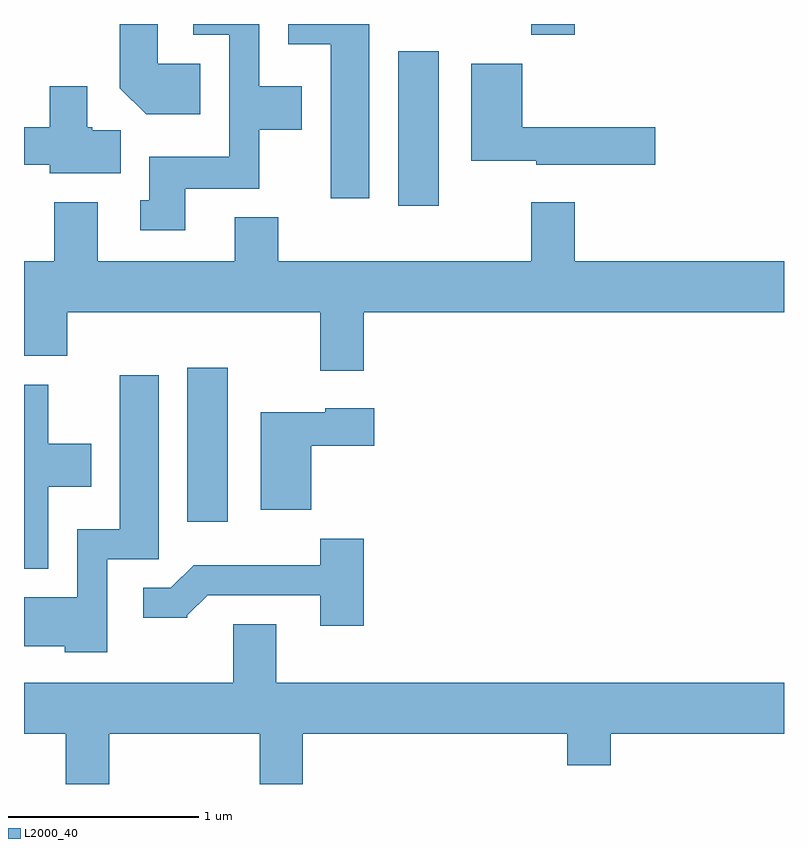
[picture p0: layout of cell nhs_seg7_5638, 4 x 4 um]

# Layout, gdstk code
import gdstk
lib = gdstk.Library(unit=1e-6, precision=1e-09)
def R(c, l, rs):  # rectangles x0, y0, x1, y1
    for r in rs: c.add(gdstk.rectangle(r[:2], r[2:], *l))
def P(c, l, *ps):  # polygons
    for p in ps: c.add(gdstk.Polygon(p, *l))
L2000_40 = (2000, 40)

nhs_seg7_5638 = lib.new_cell('nhs_seg7_5638')
R(nhs_seg7_5638, L2000_40, [(358.471,1737.631,358.684,1738.444), (359.581,1739.296,359.794,1740.109), (360.281,1740.196,360.509,1740.252)])
P(nhs_seg7_5638, L2000_40, [(358.459,1739.386),(358.849,1739.386),(358.849,1739.696),(359.074,1739.696),(359.074,1739.924),(358.849,1739.924),(358.849,1740.252),(358.503,1740.252),(358.503,1740.196),(358.691,1740.196),(358.691,1739.554),(358.271,1739.554),(358.271,1739.324),(358.223,1739.324),(358.223,1739.166),(358.459,1739.166)],
  [(359.429,1740.252),(359.001,1740.252),(359.001,1740.146),(359.226,1740.146),(359.226,1739.336),(359.429,1739.336)],
  [(358.539,1740.044),(358.314,1740.044),(358.314,1740.252),(358.116,1740.252),(358.116,1739.914),(358.254,1739.776),(358.539,1739.776)],
  [(360.934,1739.709),(360.234,1739.709),(360.234,1740.044),(359.966,1740.044),(359.966,1739.531),(360.306,1739.531),(360.306,1739.511),(360.934,1739.511)],
  [(358.119,1739.694),(357.97,1739.694),(357.97,1739.709),(357.944,1739.709),(357.944,1739.924),(357.746,1739.924),(357.746,1739.709),(357.611,1739.709),(357.611,1739.511),(357.746,1739.511),(357.746,1739.466),(358.119,1739.466)],
  [(359.399,1738.736),(361.611,1738.736),(361.611,1739.004),(360.509,1739.004),(360.509,1739.314),(360.281,1739.314),(360.281,1739.004),(358.949,1739.004),(358.949,1739.234),(358.721,1739.234),(358.721,1739.004),(357.999,1739.004),(357.999,1739.314),(357.771,1739.314),(357.771,1739.004),(357.611,1739.004),(357.611,1738.506),(357.839,1738.506),(357.839,1738.736),(359.171,1738.736),(359.171,1738.426),(359.399,1738.426)],
  [(358.049,1737.436),(358.319,1737.436),(358.319,1738.404),(358.116,1738.404),(358.116,1737.594),(357.891,1737.594),(357.891,1737.234),(357.611,1737.234),(357.611,1736.976),(357.826,1736.976),(357.826,1736.946),(358.049,1736.946)],
  [(357.739,1737.816),(357.964,1737.816),(357.964,1738.044),(357.739,1738.044),(357.739,1738.354),(357.611,1738.354),(357.611,1737.386),(357.739,1737.386)],
  [(359.124,1738.031),(359.454,1738.031),(359.454,1738.229),(359.196,1738.229),(359.196,1738.209),(358.856,1738.209),(358.856,1737.696),(359.124,1737.696)],
  [(359.399,1737.544),(359.171,1737.544),(359.171,1737.404),(358.504,1737.404),(358.384,1737.284),(358.238,1737.284),(358.238,1737.126),(358.47,1737.126),(358.47,1737.14),(358.577,1737.246),(359.171,1737.246),(359.171,1737.086),(359.399,1737.086)],
  [(358.059,1736.516),(358.851,1736.516),(358.851,1736.252),(359.079,1736.252),(359.079,1736.516),(360.471,1736.516),(360.471,1736.351),(360.699,1736.351),(360.699,1736.516),(361.611,1736.516),(361.611,1736.784),(358.939,1736.784),(358.939,1737.094),(358.711,1737.094),(358.711,1736.784),(357.611,1736.784),(357.611,1736.516),(357.831,1736.516),(357.831,1736.252),(358.059,1736.252)])

lib.write_gds('nhs_seg7_5638.gds')
